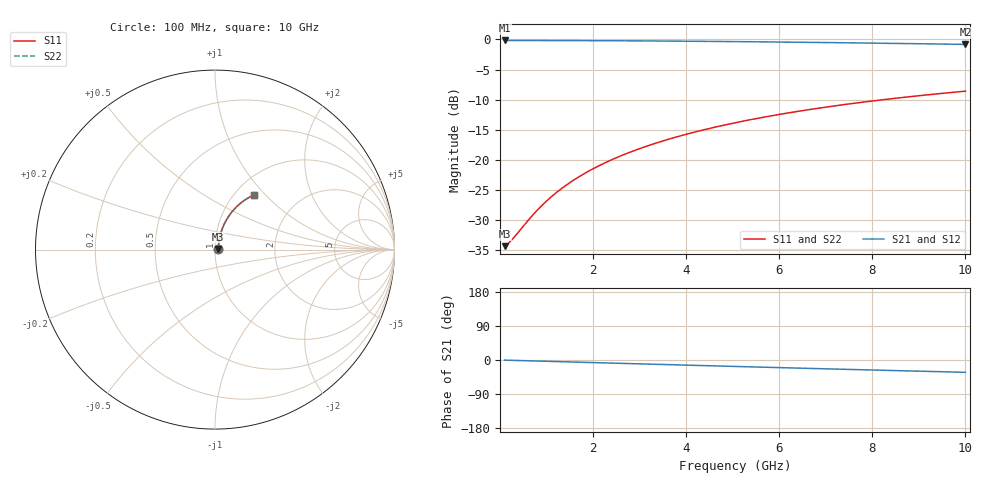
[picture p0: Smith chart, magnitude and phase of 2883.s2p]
# Hz S RI R 50.00
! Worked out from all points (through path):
!   100 points, 100 MHz to 10 GHz, reference 50 ohm
!   highest |S21| = -0.16 dB at 100 MHz (marker M1); lowest = -0.8 dB at 10 GHz (marker M2)
!   group delay of S21, straight-line fit = 9.05 ps
!   lowest |S11| = -34.4 dB at 100 MHz (marker M3), VSWR 1.04, Z = 51.9 + j0.416 ohm
!   |S11| at or under -10 dB: start of sweep to 8.243 GHz
!   |S22| runs from -34.4 to -8.6 dB; largest |S21 - S12| = 0
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1e8  0.0187 0.00401  0.9813 -0.00584  0.9813 -0.00584  0.0187 0.00401
2e8  0.0189 0.00801  0.9811 -0.0117  0.9811 -0.0117  0.0189 0.00801
3e8  0.0191 0.012  0.9808 -0.0175  0.9808 -0.0175  0.0191 0.012
7e8  0.0203 0.028  0.9796 -0.0408  0.9796 -0.0408  0.0203 0.028
8e8  0.0207 0.032  0.9791 -0.0466  0.9791 -0.0466  0.0207 0.032
1e9  0.0217 0.0399  0.9781 -0.0582  0.9781 -0.0582  0.0217 0.0399
1.2e9  0.0228 0.0478  0.977 -0.0698  0.977 -0.0698  0.0228 0.0478
1.4e9  0.0241 0.0557  0.9756 -0.0814  0.9756 -0.0814  0.0241 0.0557
1.6e9  0.0255 0.0635  0.974 -0.0929  0.974 -0.0929  0.0255 0.0635
1.8e9  0.0272 0.0713  0.9722 -0.1043  0.9722 -0.1043  0.0272 0.0713
2.1e9  0.03 0.0829  0.9692 -0.1214  0.9692 -0.1214  0.03 0.0829
2.5e9  0.0344 0.0982  0.9645 -0.144  0.9645 -0.144  0.0344 0.0982
2.9e9  0.0394 0.1131  0.9591 -0.1664  0.9591 -0.1664  0.0394 0.1131
3.4e9  0.0467 0.1314  0.9513 -0.1939  0.9513 -0.1939  0.0467 0.1314
3.8e9  0.0533 0.1457  0.9442 -0.2155  0.9442 -0.2155  0.0533 0.1457
4.2e9  0.0604 0.1595  0.9365 -0.2367  0.9365 -0.2367  0.0604 0.1595
5.1e9  0.0787 0.1891  0.9168 -0.2829  0.9168 -0.2829  0.0787 0.1891
5.9e9  0.0972 0.2134  0.8968 -0.3221  0.8968 -0.3221  0.0972 0.2134
6.7e9  0.1175 0.2357  0.8747 -0.3592  0.8747 -0.3592  0.1175 0.2357
7.5e9  0.1394 0.2557  0.8508 -0.3941  0.8508 -0.3941  0.1394 0.2557
8.4e9  0.1655 0.2755  0.8221 -0.4307  0.8221 -0.4307  0.1655 0.2755
1e10  0.2149 0.3034  0.7675 -0.4888  0.7675 -0.4888  0.2149 0.3034
